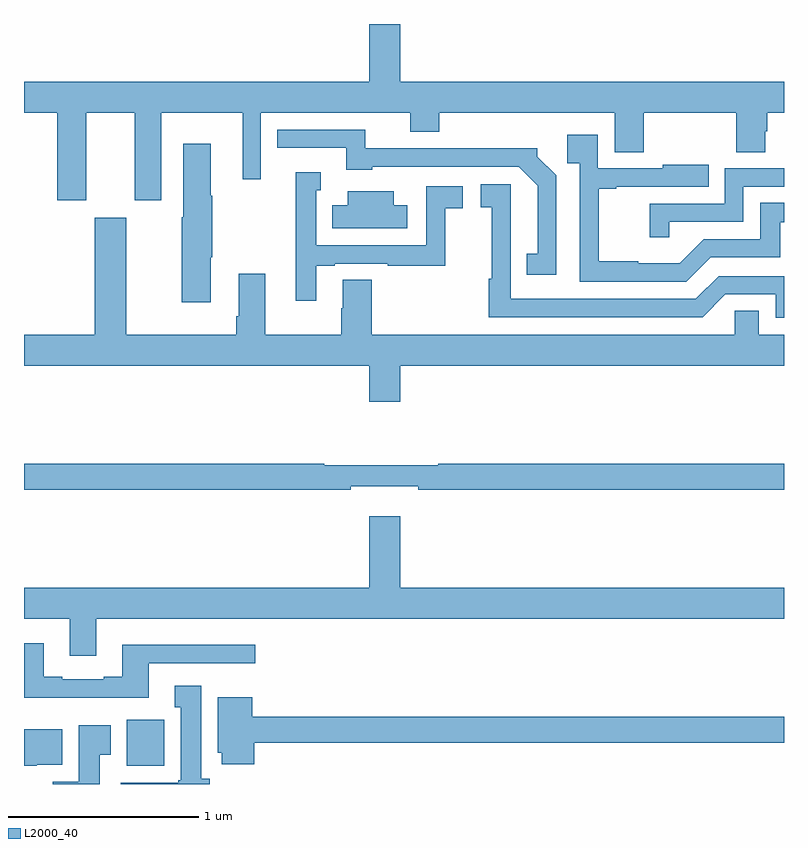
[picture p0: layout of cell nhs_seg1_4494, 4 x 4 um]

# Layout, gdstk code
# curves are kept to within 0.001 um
import gdstk
lib = gdstk.Library(unit=1e-6, precision=1e-09)
def R(c, l, rs):  # rectangles x0, y0, x1, y1
    for r in rs: c.add(gdstk.rectangle(r[:2], r[2:], *l))
def P(c, l, *ps):  # polygons
    for p in ps: c.add(gdstk.Polygon(p, *l))
L2000_40 = (2000, 40)

nhs_seg1_4494 = lib.new_cell('nhs_seg1_4494')
R(nhs_seg1_4494, L2000_40, [(355.541,548.294,355.738,548.536)])
P(nhs_seg1_4494, L2000_40, [(356.98,552.199),(356.816,552.199),(356.816,551.896),(355,551.896),(355,551.732),(355.175,551.732),(355.175,551.271),(355.327,551.271),(355.327,551.732),(355.583,551.732),(355.583,551.271),(355.723,551.271),(355.723,551.732),(356.15,551.732),(356.15,551.382),(356.247,551.382),(356.247,551.732),(357.032,551.732),(357.032,551.633),(357.185,551.633),(357.185,551.732),(358.109,551.732),(358.109,551.524),(358.262,551.524),(358.262,551.732),(358.748,551.732),(358.748,551.524),(358.9,551.524),(358.9,551.634),(358.913,551.634),(358.913,551.732),(359,551.732),(359,551.896),(356.98,551.896)],
  [(357.801,551.402),(357.702,551.501),(357.702,551.546),(357.268,551.546),(357.268,551.544),(356.796,551.544),(356.796,551.643),(356.332,551.643),(356.332,551.547),(356.696,551.547),(356.696,551.432),(356.832,551.432),(356.832,551.448),(357.603,551.448),(357.704,551.347),(357.704,550.991),(357.646,550.991),(357.646,550.878),(357.801,550.878)],
  [(358.614,550.971),(358.981,550.971),(358.981,551.155),(359,551.155),(359,551.258),(358.874,551.258),(358.874,551.067),(358.578,551.067),(358.45,550.939),(358.232,550.939),(358.232,550.951),(358.025,550.951),(358.025,551.331),(358.117,551.331),(358.117,551.343),(358.604,551.343),(358.604,551.458),(358.361,551.458),(358.361,551.439),(358.02,551.439),(358.02,551.617),(357.859,551.617),(357.859,551.465),(357.924,551.465),(357.924,550.842),(358.485,550.842)],
  [(355.984,550.972),(355.992,550.972),(355.992,551.294),(355.984,551.294),(355.984,551.569),(355.838,551.569),(355.838,551.183),(355.831,551.183),(355.831,550.734),(355.984,550.734)],
  [(358.395,551.157),(358.785,551.157),(358.785,551.343),(359,551.343),(359,551.439),(358.689,551.439),(358.689,551.253),(358.294,551.253),(358.294,551.076),(358.395,551.076)],
  [(356.539,550.926),(356.635,550.926),(356.635,550.938),(356.914,550.938),(356.914,550.926),(357.216,550.926),(357.216,551.23),(357.31,551.23),(357.31,551.346),(357.117,551.346),(357.117,551.034),(356.538,551.034),(356.538,551.325),(356.563,551.325),(356.563,551.419),(356.43,551.419),(356.43,550.987),(356.429,550.987),(356.429,550.743),(356.539,550.743)],
  [(359,550.872),(358.656,550.872),(358.536,550.752),(357.561,550.752),(357.562,551.356),(357.405,551.356),(357.405,551.235),(357.463,551.235),(357.463,550.859),(357.445,550.859),(357.445,550.656),(358.572,550.656),(358.692,550.776),(358.956,550.776),(358.956,550.653),(359,550.653)],
  [(357.016,551.245),(356.947,551.245),(356.947,551.32),(356.705,551.32),(356.705,551.245),(356.623,551.245),(356.623,551.123),(357.016,551.123)],
  [(356.98,550.4),(359,550.4),(359,550.564),(358.867,550.564),(358.867,550.691),(358.74,550.691),(358.74,550.564),(356.831,550.564),(356.831,550.853),(356.678,550.853),(356.678,550.703),(356.671,550.703),(356.671,550.564),(356.269,550.564),(356.269,550.885),(356.129,550.885),(356.129,550.66),(356.117,550.66),(356.117,550.564),(355.537,550.564),(355.537,551.179),(355.373,551.179),(355.373,550.564),(355,550.564),(355,550.4),(356.816,550.4),(356.816,550.212),(356.98,550.212)],
  [(356.72,549.767),(357.076,549.767),(357.076,549.748),(359,549.748),(359,549.884),(357.179,549.884),(357.179,549.877),(356.579,549.877),(356.579,549.884),(355,549.884),(355,549.748),(356.72,549.748)],
  [(355.381,549.068),(359,549.068),(359,549.232),(356.98,549.232),(356.98,549.607),(356.816,549.607),(356.816,549.232),(355,549.232),(355,549.068),(355.241,549.068),(355.241,548.874),(355.381,548.874)],
  [(355.657,548.835),(356.218,548.835),(356.218,548.932),(355.517,548.932),(355.517,548.764),(355.421,548.764),(355.421,548.751),(355.201,548.751),(355.201,548.764),(355.105,548.764),(355.105,548.941),(355,548.941),(355,548.654),(355.657,548.654)],
  [(355.978,548.226),(355.933,548.226),(355.933,548.716),(355.793,548.716),(355.793,548.603),(355.826,548.603),(355.826,548.22),(355.813,548.22),(355.813,548.206),(355.509,548.206),(355.509,548.199),(355.978,548.199)],
  [(356.213,548.416),(359,548.416),(359,548.552),(356.2,548.552),(356.2,548.656),(356.021,548.656),(356.021,548.364),(356.042,548.364),(356.042,548.304),(356.213,548.304)],
  [(355.399,548.353),(355.456,548.353),(355.456,548.509),(355.289,548.509),(355.289,548.212),(355.15,548.212),(355.15,548.199),(355.399,548.199)],
  [(355.068,548.3),(355.201,548.3),(355.201,548.488),(355,548.488),(355,548.294),(355.068,548.294)])

lib.write_gds('nhs_seg1_4494.gds')
